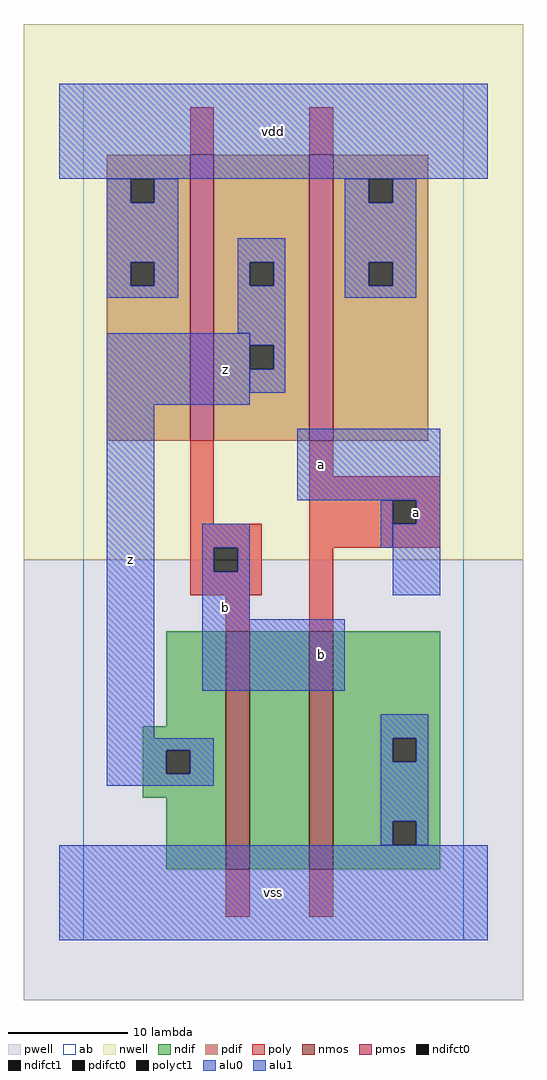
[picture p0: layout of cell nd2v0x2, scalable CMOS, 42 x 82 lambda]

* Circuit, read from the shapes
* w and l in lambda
.subckt nd2v0x2 a b vdd vss z
M1 n1 b z VSUBS nfet w=20 l=2
M2 vss a n1 VSUBS nfet w=20 l=2
M3 z b vdd n2 pfet w=24 l=2
M4 vdd a z n2 pfet w=24 l=2
.ends

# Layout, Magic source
magic
tech scmos
<< ab >>
rect 0 0 32 72
<< nwell >>
rect -5 32 37 77
<< pwell >>
rect -5 -5 37 32
<< poly >>
rect 9 66 11 70
rect 19 66 21 70
rect 9 35 11 42
rect 19 39 21 42
rect 19 37 30 39
rect 19 35 26 37
rect 28 35 30 37
rect 9 33 15 35
rect 9 31 11 33
rect 13 31 15 33
rect 9 29 15 31
rect 19 33 30 35
rect 12 26 14 29
rect 19 26 21 33
rect 12 2 14 6
rect 19 2 21 6
<< ndif >>
rect 7 18 12 26
rect 5 16 12 18
rect 5 14 7 16
rect 9 14 12 16
rect 5 12 12 14
rect 7 6 12 12
rect 14 6 19 26
rect 21 17 30 26
rect 21 15 26 17
rect 28 15 30 17
rect 21 10 30 15
rect 21 8 26 10
rect 28 8 30 10
rect 21 6 30 8
<< pdif >>
rect 2 64 9 66
rect 2 62 4 64
rect 6 62 9 64
rect 2 57 9 62
rect 2 55 4 57
rect 6 55 9 57
rect 2 42 9 55
rect 11 57 19 66
rect 11 55 14 57
rect 16 55 19 57
rect 11 50 19 55
rect 11 48 14 50
rect 16 48 19 50
rect 11 42 19 48
rect 21 64 29 66
rect 21 62 24 64
rect 26 62 29 64
rect 21 57 29 62
rect 21 55 24 57
rect 26 55 29 57
rect 21 42 29 55
<< alu1 >>
rect -2 64 34 72
rect 2 45 14 51
rect 2 17 6 45
rect 18 37 30 43
rect 10 33 14 35
rect 28 35 30 37
rect 10 31 11 33
rect 13 31 14 33
rect 10 27 14 31
rect 26 29 30 35
rect 10 21 22 27
rect 2 16 11 17
rect 2 14 7 16
rect 9 14 11 16
rect 2 13 11 14
rect -2 0 34 8
<< nmos >>
rect 12 6 14 26
rect 19 6 21 26
<< pmos >>
rect 9 42 11 66
rect 19 42 21 66
<< polyct1 >>
rect 26 35 28 37
rect 11 31 13 33
<< ndifct0 >>
rect 26 15 28 17
rect 26 8 28 10
<< ndifct1 >>
rect 7 14 9 16
<< pdifct0 >>
rect 4 62 6 64
rect 4 55 6 57
rect 14 55 16 57
rect 14 48 16 50
rect 24 62 26 64
rect 24 55 26 57
<< alu0 >>
rect 2 62 4 64
rect 6 62 8 64
rect 2 57 8 62
rect 22 62 24 64
rect 26 62 28 64
rect 2 55 4 57
rect 6 55 8 57
rect 2 54 8 55
rect 13 57 17 59
rect 13 55 14 57
rect 16 55 17 57
rect 13 51 17 55
rect 22 57 28 62
rect 22 55 24 57
rect 26 55 28 57
rect 22 54 28 55
rect 14 50 17 51
rect 16 48 17 50
rect 14 46 17 48
rect 25 33 26 37
rect 25 17 29 19
rect 25 15 26 17
rect 28 15 29 17
rect 25 10 29 15
rect 25 8 26 10
rect 28 8 29 10
<< labels >>
rlabel alu1 4 32 4 32 6 z
rlabel alu1 12 28 12 28 6 b
rlabel alu1 12 48 12 48 6 z
rlabel alu1 16 4 16 4 6 vss
rlabel alu1 20 24 20 24 6 b
rlabel alu1 20 40 20 40 6 a
rlabel alu1 16 68 16 68 6 vdd
rlabel alu1 28 36 28 36 6 a
<< end >>
